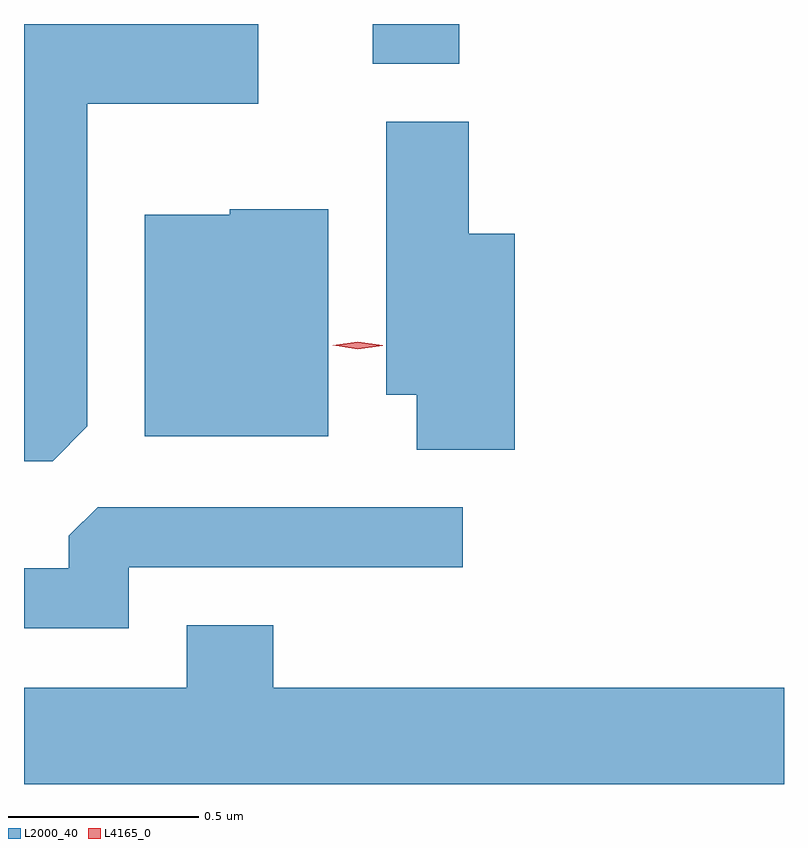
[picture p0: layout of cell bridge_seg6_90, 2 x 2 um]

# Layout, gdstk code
import gdstk
lib = gdstk.Library(unit=1e-6, precision=1e-09)
def R(c, l, rs):  # rectangles x0, y0, x1, y1
    for r in rs: c.add(gdstk.rectangle(r[:2], r[2:], *l))
def P(c, l, *ps):  # polygons
    for p in ps: c.add(gdstk.Polygon(p, *l))
L2000_40 = (2000, 40)
L4165_0 = (4165, 0)

bridge_seg6_90 = lib.new_cell('bridge_seg6_90')
R(bridge_seg6_90, L2000_40, [(1218.311,1638.526,1218.539,1638.631)])
P(bridge_seg6_90, L2000_40, [(1217.559,1637.572),(1217.559,1638.421),(1218.009,1638.421),(1218.009,1638.631),(1217.393,1638.631),(1217.393,1637.481),(1217.469,1637.481)],
  [(1218.684,1638.079),(1218.564,1638.079),(1218.564,1638.374),(1218.346,1638.374),(1218.346,1637.656),(1218.426,1637.656),(1218.426,1637.511),(1218.684,1637.511)],
  [(1218.194,1638.144),(1217.935,1638.144),(1217.935,1638.129),(1217.711,1638.129),(1217.711,1637.546),(1218.194,1637.546)],
  [(1217.669,1637.201),(1218.548,1637.201),(1218.548,1637.359),(1217.587,1637.359),(1217.511,1637.284),(1217.511,1637.199),(1217.393,1637.199),(1217.393,1637.041),(1217.669,1637.041)],
  [(1219.393,1636.884),(1218.049,1636.884),(1218.049,1637.049),(1217.821,1637.049),(1217.821,1636.884),(1217.393,1636.884),(1217.393,1636.631),(1219.393,1636.631)])
P(bridge_seg6_90, L4165_0, [(1218.271,1637.775),(1218.205,1637.785),(1218.204,1637.786),(1218.205,1637.786),(1218.271,1637.795),(1218.337,1637.785),(1218.337,1637.785),(1218.337,1637.784)])

lib.write_gds('bridge_seg6_90.gds')
